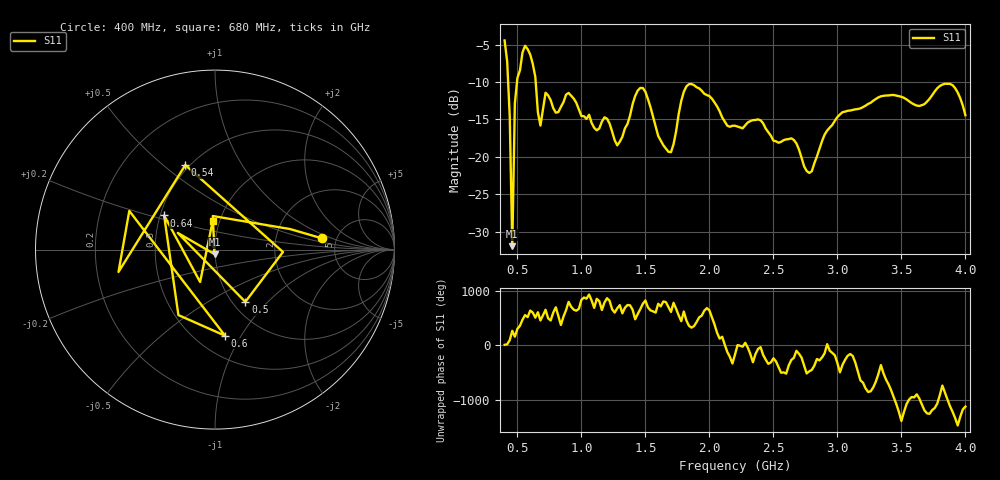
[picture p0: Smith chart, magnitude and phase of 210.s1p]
!Created with skrf (http://scikit-rf.org).
# Hz S RI R 50.0
!freq ReS11 ImS11
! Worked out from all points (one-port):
!   181 points, 400 MHz to 4 GHz, reference 50 ohm
!   lowest |S11| = -31.9 dB at 460 MHz (marker M1), VSWR 1.05, Z = 49.7 - j2.51 ohm
!   |S11| at or under -10 dB: 427.5 MHz to 496.8 MHz (69.27 MHz wide, 15 % of centre); 642.9 MHz to end of sweep
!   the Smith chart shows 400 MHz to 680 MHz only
!   S11 on the Smith chart (normalised r, x): 400 MHz: 3.83, +0.75; 500 MHz: 1.14, -0.75; 540 MHz: 0.48, +0.60; 600 MHz: 0.68, -0.86; 640 MHz: 0.52, +0.23; 680 MHz: 0.93, +0.31
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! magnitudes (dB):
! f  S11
! 400 MHz  -4.5
! 420 MHz  -7.3
! 440 MHz  -14.5
! 460 MHz  -31.9
! 480 MHz  -12.9
! 500 MHz  -9.5
! 540 MHz  -6.0
! 600 MHz  -6.3
! 640 MHz  -9.3
! 680 MHz  -15.8
! 720 MHz  -11.4
! 800 MHz  -14.1
! 860 MHz  -12.7
! 1.12 GHz  -16.4
! 1.2 GHz  -14.9
! 1.3 GHz  -18.0
! 1.46 GHz  -10.8
! 1.68 GHz  -19.3
! 1.76 GHz  -14.3
! 1.86 GHz  -10.3
! 2.2 GHz  -15.8
! 2.66 GHz  -17.7
! 2.78 GHz  -22.1
! 2.92 GHz  -16.5
! 3.1 GHz  -13.8
! 3.56 GHz  -12.6
! 3.88 GHz  -10.3
! 4 GHz  -14.4
